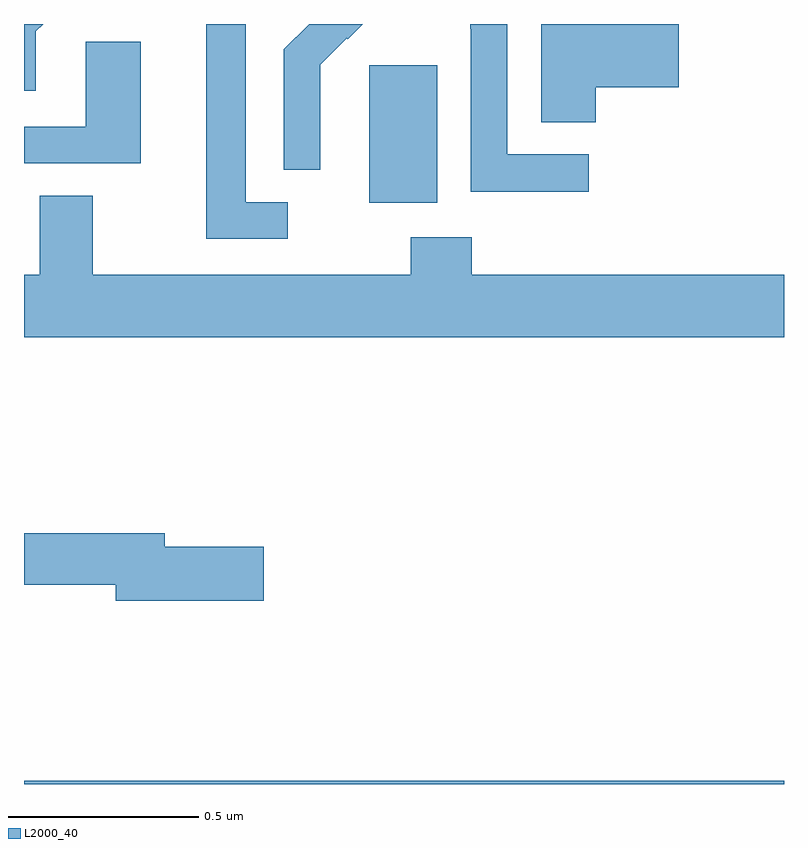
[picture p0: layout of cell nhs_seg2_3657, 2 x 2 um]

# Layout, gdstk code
import gdstk
lib = gdstk.Library(unit=1e-6, precision=1e-09)
def R(c, l, rs):  # rectangles x0, y0, x1, y1
    for r in rs: c.add(gdstk.rectangle(r[:2], r[2:], *l))
def P(c, l, *ps):  # polygons
    for p in ps: c.add(gdstk.Polygon(p, *l))
L2000_40 = (2000, 40)

nhs_seg2_3657 = lib.new_cell('nhs_seg2_3657')
R(nhs_seg2_3657, L2000_40, [(156,639.8,158,639.808), (156.908,641.33,157.087,641.691)])
P(nhs_seg2_3657, L2000_40, [(156.78,641.57),(156.779,641.57),(156.779,641.693),(156.849,641.763),(156.852,641.76),(156.892,641.8),(156.75,641.8),(156.684,641.734),(156.684,641.416),(156.78,641.416)],
  [(157.486,641.457),(157.272,641.457),(157.272,641.8),(157.174,641.8),(157.174,641.788),(157.176,641.788),(157.176,641.359),(157.486,641.359)],
  [(157.505,641.633),(157.723,641.633),(157.723,641.8),(157.361,641.8),(157.361,641.542),(157.505,641.542)],
  [(156.031,641.781),(156.05,641.8),(156,641.8),(156,641.625),(156.031,641.625)],
  [(156.694,641.331),(156.583,641.331),(156.583,641.8),(156.479,641.8),(156.479,641.235),(156.694,641.235)],
  [(156.307,641.753),(156.162,641.753),(156.162,641.529),(156,641.529),(156,641.433),(156.307,641.433)],
  [(158,641.14),(157.178,641.14),(157.178,641.239),(157.018,641.239),(157.018,641.14),(156.181,641.14),(156.181,641.348),(156.041,641.348),(156.041,641.14),(156,641.14),(156,640.976),(158,640.976)],
  [(156.631,640.424),(156.37,640.424),(156.37,640.46),(156,640.46),(156,640.324),(156.242,640.324),(156.242,640.282),(156.631,640.282)])

lib.write_gds('nhs_seg2_3657.gds')
